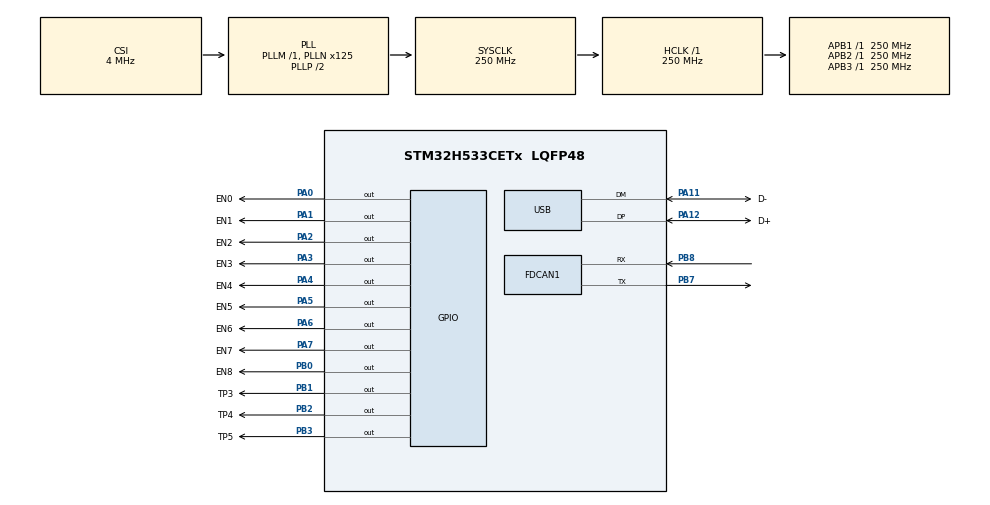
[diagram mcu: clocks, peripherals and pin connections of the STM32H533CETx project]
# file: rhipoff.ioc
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BOOTPATH.BootPathName=LEGACY
BOOTPATH.UserSelectedBootPath=LEGACY
CORTEX_M33_NS.userName=CORTEX_M33
FDCAN1.CalculateBaudRateNominal=5208333
FDCAN1.CalculateTimeBitNominal=192
FDCAN1.CalculateTimeQuantumNominal=64.0
Mcu.Family=STM32H5
Mcu.Name=STM32H533CETx
Mcu.Package=LQFP48
NVIC.FDCAN1_IT0_IRQn=true\:0\:0\:false\:false\:true\:true\:true\:true
NVIC.PriorityGroup=NVIC_PRIORITYGROUP_4
PA0.GPIO_Label=EN0
PA0.Signal=GPIO_Output
PA1.GPIO_Label=EN1
PA1.Signal=GPIO_Output
PA11.GPIO_Label=D-
PA11.Mode=Device
PA11.Signal=USB_DM
PA12.GPIO_Label=D+
PA12.Mode=Device
PA12.Signal=USB_DP
PA13(JTMS/SWDIO).Mode=Serial_Wire
PA13(JTMS/SWDIO).Signal=DEBUG_JTMS-SWDIO
PA14(JTCK/SWCLK).Mode=Serial_Wire
PA14(JTCK/SWCLK).Signal=DEBUG_JTCK-SWCLK
PA2.GPIO_Label=EN2
PA2.Signal=GPIO_Output
PA3.GPIO_Label=EN3
PA3.Signal=GPIO_Output
PA4.GPIO_Label=EN4
PA4.Signal=GPIO_Output
PA5.GPIO_Label=EN5
PA5.Signal=GPIO_Output
PA6.GPIO_Label=EN6
PA6.Signal=GPIO_Output
PA7.GPIO_Label=EN7
PA7.Signal=GPIO_Output
PB0.GPIO_Label=EN8
PB0.Signal=GPIO_Output
PB1.GPIO_Label=TP3
PB1.Signal=GPIO_Output
PB2.GPIO_Label=TP4
PB2.Signal=GPIO_Output
PB3(JTDO/TRACESWO).GPIO_Label=TP5
PB3(JTDO/TRACESWO).Signal=GPIO_Output
PB7.Mode=FDCAN_Activate
PB7.Signal=FDCAN1_TX
PB8.Mode=FDCAN_Activate
PB8.Signal=FDCAN1_RX
ProjectManager.HeapSize=0x600
ProjectManager.StackSize=0x800
ProjectManager.TargetToolchain=Makefile
RCC.ADCFreq_Value=250000000
RCC.AHBFreq_Value=250000000
RCC.APB1Freq_Value=250000000
RCC.APB1TimFreq_Value=250000000
RCC.APB2Freq_Value=250000000
RCC.APB2TimFreq_Value=250000000
RCC.APB3Freq_Value=250000000
RCC.CSI_VALUE=4000000
RCC.CortexFreq_Value=250000000
RCC.EPOD_VALUE=4000000
RCC.FDCANClockSelection=RCC_FDCANCLKSOURCE_PLL1Q
RCC.HCLKFreq_Value=250000000
RCC.HSE_VALUE=25000000
RCC.HSI48_VALUE=48000000
RCC.HSI_VALUE=64000000
RCC.LSE_VALUE=32768
RCC.LSIRC_VALUE=32000
RCC.PLL2FRACN=0
RCC.PLL3FRACN=0
RCC.PLLFRACN=0
RCC.PLLN=125
RCC.SYSCLKFreq_VALUE=250000000
RCC.SYSCLKSource=RCC_SYSCLKSOURCE_PLLCLK
RCC.USBFreq_Value=48000000
RCC.VCOOutputFreq_Value=500000000
USB.VirtualMode=Device_Only
VP_BOOTPATH_VS_BOOTPATH.Mode=BP_Activate
VP_CORTEX_M33_NS_VS_Hclk.Mode=Hclk_Mode
VP_MEMORYMAP_VS_MEMORYMAP.Mode=CurAppReg
VP_PWR_VS_DBSignals.Mode=DisableDeadBatterySignals
VP_PWR_VS_LPOM.Mode=PowerOptimisation
VP_PWR_VS_SECSignals.Mode=Security/Privilege
board=custom

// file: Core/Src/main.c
/* USER CODE BEGIN Header */
/**
  ******************************************************************************
  * @file           : main.c
  * @brief          : Main program body
  ******************************************************************************
  * @attention
  *
  * Copyright (c) 2024 STMicroelectronics.
  * All rights reserved.
  *
  * This software is licensed under terms that can be found in the LICENSE file
  * in the root directory of this software component.
  * If no LICENSE file comes with this software, it is provided AS-IS.
  *
  ******************************************************************************
  */
/* USER CODE END Header */
#include "main.h"

/* USER CODE BEGIN Includes */
#include "usbd_core.h"
#include "usbd_cdc.h"
#include "usbd_cdc_if.h"
#include "usbd_hid.h"
#include "usbd_desc.h"
#include "usbd_composite_builder.h"
/* USER CODE END Includes */

FDCAN_HandleTypeDef hfdcan1;

PCD_HandleTypeDef hpcd_USB_DRD_FS;

/* USER CODE BEGIN PV */
uint8_t CDC_EpAdd_Inst[3] = {CDC_IN_EP, CDC_OUT_EP, CDC_CMD_EP}; 	/* CDC Endpoint Addresses array */
uint8_t HID_EpAdd_Inst = HID_EPIN_ADDR;								/* HID Endpoint Address array */
USBD_HandleTypeDef hUsbDeviceFS;
uint8_t hid_report_buffer[4];
uint8_t HID_InstID = 0, CDC_InstID = 0;
/* USER CODE END PV */

void SystemClock_Config(void);
static void MX_GPIO_Init(void);
static void MX_FDCAN1_Init(void);

int main(void)
{

  /* USER CODE BEGIN 1 */
  hid_report_buffer[0] = 0;   /* Buttons – first 3 bits [LSB] */
  hid_report_buffer[1] = 100; /* X axis 8 bits value signed */
  hid_report_buffer[2] = 0;   /* Y axis 8 bits value signed*/
  hid_report_buffer[3] = 0;   /* Wheel 8 bits value signed*/
  /* USER CODE END 1 */

  /* MCU Configuration--------------------------------------------------------*/

  /* Reset of all peripherals, Initializes the Flash interface and the Systick. */
  HAL_Init();

  /* Configure the system clock */
  SystemClock_Config();

  /* Initialize all configured peripherals */
  MX_GPIO_Init();
  MX_FDCAN1_Init();
  /* USER CODE BEGIN 2 */
  /* Initialize the USB Device Library */
  if(USBD_Init(&hUsbDeviceFS, &Class_Desc, 0) != USBD_OK)
    Error_Handler();
  /* Store HID Instance Class ID */
  HID_InstID = hUsbDeviceFS.classId;
  /* Register the HID Class */
  if(USBD_RegisterClassComposite(&hUsbDeviceFS, USBD_HID_CLASS, CLASS_TYPE_HID, &HID_EpAdd_Inst) != USBD_OK)
    Error_Handler();
  /* Store the HID Class */
  CDC_InstID = hUsbDeviceFS.classId;
  /* Register CDC Class First Instance */
  if(USBD_RegisterClassComposite(&hUsbDeviceFS, USBD_CDC_CLASS, CLASS_TYPE_CDC, CDC_EpAdd_Inst) != USBD_OK)
    Error_Handler();
  /* Add CDC Interface Class */
  if (USBD_CMPSIT_SetClassID(&hUsbDeviceFS, CLASS_TYPE_CDC, 0) != 0xFF)
  {
    USBD_CDC_RegisterInterface(&hUsbDeviceFS, &USBD_CDC_Template_fops);
  }
  USBD_Start(&hUsbDeviceFS);
  /* USER CODE END 2 */

  /* Infinite loop */
  /* USER CODE BEGIN WHILE */
  while (1)
  {
    if(HAL_GPIO_ReadPin(USER_BT_GPIO_Port, USER_BT_Pin) == GPIO_PIN_SET)
    {
      USBD_HID_SendReport(&hUsbDeviceFS, hid_report_buffer, 4, HID_InstID);
      USBD_CDC_TransmitPacket(&hUsbDeviceFS, CDC_InstID);
      HAL_Delay(100);
    }
  /* USER CODE END WHILE */

  }
}

void SystemClock_Config(void)
{
  RCC_OscInitTypeDef RCC_OscInitStruct = {0};
  RCC_ClkInitTypeDef RCC_ClkInitStruct = {0};

  /** Configure the main internal regulator output voltage
  */
  __HAL_PWR_VOLTAGESCALING_CONFIG(PWR_REGULATOR_VOLTAGE_SCALE0);

  while(!__HAL_PWR_GET_FLAG(PWR_FLAG_VOSRDY)) {}

  /** Initializes the RCC Oscillators according to the specified parameters
  * in the RCC_OscInitTypeDef structure.
  */
  RCC_OscInitStruct.OscillatorType = RCC_OSCILLATORTYPE_HSI48|RCC_OSCILLATORTYPE_CSI;
  RCC_OscInitStruct.HSI48State = RCC_HSI48_ON;
  RCC_OscInitStruct.CSIState = RCC_CSI_ON;
  RCC_OscInitStruct.CSICalibrationValue = RCC_CSICALIBRATION_DEFAULT;
  RCC_OscInitStruct.PLL.PLLState = RCC_PLL_ON;
  RCC_OscInitStruct.PLL.PLLSource = RCC_PLL1_SOURCE_CSI;
  RCC_OscInitStruct.PLL.PLLM = 1;
  RCC_OscInitStruct.PLL.PLLN = 125;
  RCC_OscInitStruct.PLL.PLLP = 2;
  RCC_OscInitStruct.PLL.PLLQ = 2;
  RCC_OscInitStruct.PLL.PLLR = 2;
  RCC_OscInitStruct.PLL.PLLRGE = RCC_PLL1_VCIRANGE_2;
  RCC_OscInitStruct.PLL.PLLVCOSEL = RCC_PLL1_VCORANGE_WIDE;
  RCC_OscInitStruct.PLL.PLLFRACN = 0;
  if (HAL_RCC_OscConfig(&RCC_OscInitStruct) != HAL_OK)
  {
    Error_Handler();
  }

  /** Initializes the CPU, AHB and APB buses clocks
  */
  RCC_ClkInitStruct.ClockType = RCC_CLOCKTYPE_HCLK|RCC_CLOCKTYPE_SYSCLK
                              |RCC_CLOCKTYPE_PCLK1|RCC_CLOCKTYPE_PCLK2
                              |RCC_CLOCKTYPE_PCLK3;
  RCC_ClkInitStruct.SYSCLKSource = RCC_SYSCLKSOURCE_PLLCLK;
  RCC_ClkInitStruct.AHBCLKDivider = RCC_SYSCLK_DIV1;
  RCC_ClkInitStruct.APB1CLKDivider = RCC_HCLK_DIV1;
  RCC_ClkInitStruct.APB2CLKDivider = RCC_HCLK_DIV1;
  RCC_ClkInitStruct.APB3CLKDivider = RCC_HCLK_DIV1;

  if (HAL_RCC_ClockConfig(&RCC_ClkInitStruct, FLASH_LATENCY_5) != HAL_OK)
  {
    Error_Handler();
  }

  /** Configure the programming delay
  */
  __HAL_FLASH_SET_PROGRAM_DELAY(FLASH_PROGRAMMING_DELAY_2);
}

static void MX_FDCAN1_Init(void)
{

  hfdcan1.Instance = FDCAN1;
  hfdcan1.Init.ClockDivider = FDCAN_CLOCK_DIV1;
  hfdcan1.Init.FrameFormat = FDCAN_FRAME_CLASSIC;
  hfdcan1.Init.Mode = FDCAN_MODE_NORMAL;
  hfdcan1.Init.AutoRetransmission = DISABLE;
  hfdcan1.Init.TransmitPause = DISABLE;
  hfdcan1.Init.ProtocolException = DISABLE;
  hfdcan1.Init.NominalPrescaler = 16;
  hfdcan1.Init.NominalSyncJumpWidth = 1;
  hfdcan1.Init.NominalTimeSeg1 = 1;
  hfdcan1.Init.NominalTimeSeg2 = 1;
  hfdcan1.Init.DataPrescaler = 1;
  hfdcan1.Init.DataSyncJumpWidth = 1;
  hfdcan1.Init.DataTimeSeg1 = 1;
  hfdcan1.Init.DataTimeSeg2 = 1;
  hfdcan1.Init.StdFiltersNbr = 0;
  hfdcan1.Init.ExtFiltersNbr = 0;
  hfdcan1.Init.TxFifoQueueMode = FDCAN_TX_FIFO_OPERATION;
  if (HAL_FDCAN_Init(&hfdcan1) != HAL_OK)
  {
    Error_Handler();
  }

}

void MX_USB_PCD_Init(void)
{

  hpcd_USB_DRD_FS.Instance = USB_DRD_FS;
  hpcd_USB_DRD_FS.Init.dev_endpoints = 8;
  hpcd_USB_DRD_FS.Init.speed = USBD_FS_SPEED;
  hpcd_USB_DRD_FS.Init.phy_itface = PCD_PHY_EMBEDDED;
  hpcd_USB_DRD_FS.Init.Sof_enable = DISABLE;
  hpcd_USB_DRD_FS.Init.low_power_enable = DISABLE;
  hpcd_USB_DRD_FS.Init.lpm_enable = DISABLE;
  hpcd_USB_DRD_FS.Init.battery_charging_enable = DISABLE;
  hpcd_USB_DRD_FS.Init.vbus_sensing_enable = DISABLE;
  hpcd_USB_DRD_FS.Init.bulk_doublebuffer_enable = DISABLE;
  hpcd_USB_DRD_FS.Init.iso_singlebuffer_enable = DISABLE;
  if (HAL_PCD_Init(&hpcd_USB_DRD_FS) != HAL_OK)
  {
    Error_Handler();
  }

}

static void MX_GPIO_Init(void)
{
  GPIO_InitTypeDef GPIO_InitStruct = {0};

  /* GPIO Ports Clock Enable */
  __HAL_RCC_GPIOA_CLK_ENABLE();
  __HAL_RCC_GPIOB_CLK_ENABLE();

  /*Configure GPIO pin Output Level */
  HAL_GPIO_WritePin(GPIOA, EN0_Pin|EN1_Pin|EN2_Pin|EN3_Pin
                          |EN4_Pin|EN5_Pin|EN6_Pin|EN7_Pin, GPIO_PIN_RESET);

  /*Configure GPIO pin Output Level */
  HAL_GPIO_WritePin(GPIOB, EN8_Pin|TP3_Pin|TP4_Pin|TP5_Pin, GPIO_PIN_RESET);

  /*Configure GPIO pins : EN0_Pin EN1_Pin EN2_Pin EN3_Pin
                           EN4_Pin EN5_Pin EN6_Pin EN7_Pin */
  GPIO_InitStruct.Pin = EN0_Pin|EN1_Pin|EN2_Pin|EN3_Pin
                          |EN4_Pin|EN5_Pin|EN6_Pin|EN7_Pin;
  GPIO_InitStruct.Mode = GPIO_MODE_OUTPUT_PP;
  GPIO_InitStruct.Pull = GPIO_NOPULL;
  GPIO_InitStruct.Speed = GPIO_SPEED_FREQ_LOW;
  HAL_GPIO_Init(GPIOA, &GPIO_InitStruct);

  /*Configure GPIO pins : EN8_Pin TP3_Pin TP4_Pin TP5_Pin */
  GPIO_InitStruct.Pin = EN8_Pin|TP3_Pin|TP4_Pin|TP5_Pin;
  GPIO_InitStruct.Mode = GPIO_MODE_OUTPUT_PP;
  GPIO_InitStruct.Pull = GPIO_NOPULL;
  GPIO_InitStruct.Speed = GPIO_SPEED_FREQ_LOW;
  HAL_GPIO_Init(GPIOB, &GPIO_InitStruct);

}

void Error_Handler(void)
{
  __disable_irq();
  while (1)
  {
  }
}
